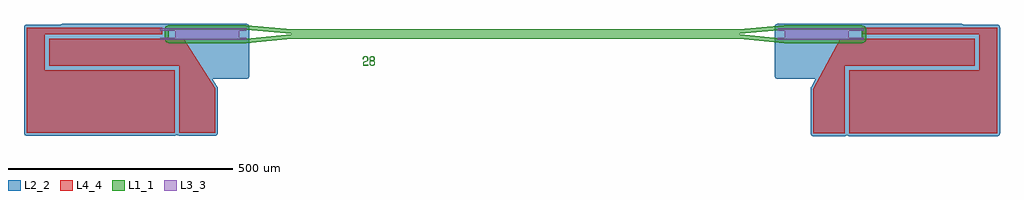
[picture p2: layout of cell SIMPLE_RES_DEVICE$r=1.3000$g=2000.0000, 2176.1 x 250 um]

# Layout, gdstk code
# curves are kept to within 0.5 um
import gdstk
lib = gdstk.Library(unit=1e-6, precision=1e-10)
def P(c, l, *ps):  # polygons
    for p in ps: c.add(gdstk.Polygon(p, *l))
L1_1 = (1, 1)
L2_2 = (2, 2)
L3_3 = (3, 3)
L4_4 = (4, 4)

simple_res_device_r_1_30 = lib.new_cell('SIMPLE_RES_DEVICE$r=1.3000$g=2000.0000')
P(simple_res_device_r_1_30, L1_1, [(-2330.848,-15.25),(-2333.7508,-14.8194),(-2337.1919,-12.9801),(-2339.6672,-9.964),(-2340.6559,-7.2009),(-2340.6559,16.7009),(-2337.9191,21.8211),(-2332.7989,24.5579),(-2158.048,24.75),(-2057.579,15.35),(-1558.4,15.35),(-1558.4,5.35),(-2058.048,5.35),(-2158.048,14.75),(-2330.848,14.75),(-2330.848,-5.25),(-2158.048,-5.25),(-2058.048,4.15),(-1558.4,4.15),(-1558.4,-5.85),(-2057.579,-5.85),(-2158.048,-15.25)],
  [(-958.752,-15.25),(-1059.221,-5.85),(-1558.4,-5.85),(-1558.4,4.15),(-1058.752,4.15),(-958.752,-5.25),(-785.952,-5.25),(-785.952,14.75),(-958.752,14.75),(-1058.752,5.35),(-1558.4,5.35),(-1558.4,15.35),(-1059.221,15.35),(-958.752,24.75),(-785.952,24.75),(-782.1252,23.9888),(-779.6081,22.4801),(-776.3826,17.6528),(-775.952,-5.25),(-776.7132,-9.0768),(-778.8809,-12.3211),(-782.1252,-14.4888),(-785.952,-15.25)],
  [(-1878.303,-65.518),(-1881.157,-65.028),(-1882.271,-64.428),(-1882.975,-63.692),(-1883.425,-62.744),(-1883.441,-56.654),(-1883.007,-55.732),(-1882.177,-54.986),(-1880.879,-54.424),(-1882.137,-53.996),(-1882.879,-53.236),(-1883.385,-51.086),(-1883.385,-48.03),(-1883.101,-47.036),(-1882.525,-46.168),(-1881.679,-45.536),(-1880.659,-45.136),(-1878.303,-44.818),(-1878.303,-46.21),(-1879.987,-46.502),(-1880.943,-46.986),(-1881.599,-47.788),(-1881.837,-48.898),(-1881.837,-51.752),(-1881.211,-52.788),(-1880.327,-53.45),(-1879.307,-53.768),(-1876.635,-53.808),(-1875.607,-53.598),(-1874.651,-53.054),(-1873.963,-52.146),(-1873.773,-48.568),(-1874.169,-47.502),(-1874.999,-46.772),(-1877.291,-46.21),(-1877.291,-44.818),(-1876.603,-44.852),(-1874.493,-45.28),(-1873.449,-45.836),(-1872.707,-46.654),(-1872.287,-47.628),(-1872.177,-51.5),(-1872.389,-52.496),(-1872.857,-53.432),(-1873.623,-54.102),(-1874.715,-54.424),(-1873.417,-54.986),(-1872.595,-55.732),(-1872.161,-56.654),(-1872.027,-62.24),(-1872.351,-63.22),(-1873.007,-64.144),(-1873.947,-64.81),(-1875.031,-65.21),(-1877.291,-65.518),(-1877.291,-64.152),(-1875.931,-63.96),(-1874.865,-63.524),(-1874.057,-62.852),(-1873.591,-61.868),(-1873.591,-57.174),(-1874.169,-56.172),(-1875.085,-55.492),(-1876.223,-55.188),(-1879.101,-55.166),(-1880.311,-55.414),(-1881.181,-55.916),(-1881.797,-56.734),(-1882.019,-57.744),(-1882.019,-62.17),(-1881.331,-63.086),(-1880.359,-63.72),(-1878.303,-64.152)],
  [(-1898.154,-65.22),(-1898.154,-59.036),(-1897.846,-57.866),(-1897.008,-57.006),(-1895.862,-56.394),(-1890.242,-54.772),(-1889.198,-54.242),(-1888.408,-53.49),(-1888.526,-47.892),(-1889.166,-47.01),(-1891.316,-46.282),(-1894.93,-46.486),(-1895.886,-46.91),(-1896.636,-47.77),(-1896.866,-48.87),(-1896.866,-50.986),(-1898.4,-50.986),(-1898.328,-47.906),(-1897.894,-46.732),(-1897.112,-45.88),(-1894.874,-44.98),(-1891.096,-44.84),(-1888.748,-45.446),(-1887.87,-46.032),(-1887.166,-46.948),(-1886.788,-48.106),(-1886.788,-52.914),(-1886.97,-53.994),(-1887.594,-54.912),(-1888.478,-55.554),(-1890.566,-56.402),(-1894.274,-57.386),(-1895.396,-57.89),(-1896.274,-58.61),(-1896.534,-59.386),(-1896.534,-63.87),(-1886.708,-63.87),(-1886.708,-65.22)])
P(simple_res_device_r_1_30, L2_2, [(-893.952,-222.5),(-897.7584,-221.1381),(-899.9231,-217.0881),(-899.952,-116.5),(-899.2302,-113.6469),(-888.8806,-94.5),(-973.952,-94.5),(-976.7804,-93.7915),(-978.9408,-91.8334),(-979.952,-88.5),(-979.952,21.5),(-979.2435,24.3284),(-976.7804,26.7915),(-973.952,27.5),(-563.952,27.5),(-561.6559,27.0433),(-559.4894,25.5),(-483.3639,25.4711),(-480.6186,24.4888),(-478.6605,22.3284),(-477.952,19.5),(-477.952,-216.5),(-478.6605,-219.3284),(-481.1236,-221.7915),(-483.952,-222.5),(-813.952,-222.5),(-816.7804,-221.7915),(-818.952,-219.8148),(-821.1236,-221.7915),(-823.952,-222.5)],
  [(-2648.048,-221.5),(-2652.2906,-219.7426),(-2654.048,-215.5),(-2654.048,19.5),(-2653.3395,22.3284),(-2650.8764,24.7915),(-2648.048,25.5),(-2572.5106,25.5),(-2570.3441,27.0433),(-2568.048,27.5),(-2158.048,27.5),(-2155.2196,26.7915),(-2152.7565,24.3284),(-2152.048,21.5),(-2152.048,-88.5),(-2153.0592,-91.8334),(-2155.2196,-93.7915),(-2158.048,-94.5),(-2234.2998,-94.5),(-2222.986,-112.2787),(-2222.0747,-114.9341),(-2222.048,-215.5),(-2222.7565,-218.3284),(-2225.2196,-220.7915),(-2228.048,-221.5),(-2308.048,-221.5),(-2310.8764,-220.7915),(-2313.048,-218.8148),(-2315.2196,-220.7915),(-2318.048,-221.5)])
P(simple_res_device_r_1_30, L3_3, [(-973.952,-8),(-973.952,-3),(-958.197,-3),(-958.197,11.75),(-957.752,11.75),(-957.752,-3),(-957.752,-3),(-956.397,-3),(-956.397,11.75),(-955.952,11.75),(-955.952,-3),(-954.597,-3),(-954.597,11.75),(-954.152,11.75),(-954.152,-3),(-952.797,-3),(-952.797,11.75),(-952.352,11.75),(-952.352,-3),(-950.997,-3),(-950.997,11.75),(-950.552,11.75),(-950.552,-3),(-949.197,-3),(-949.197,11.75),(-948.752,11.75),(-948.752,-3),(-947.397,-3),(-947.397,11.75),(-946.952,11.75),(-946.952,-3),(-945.597,-3),(-945.597,11.75),(-945.152,11.75),(-945.152,-3),(-943.797,-3),(-943.797,11.75),(-943.352,11.75),(-943.352,-3),(-941.997,-3),(-941.997,11.75),(-941.552,11.75),(-941.552,-3),(-940.197,-3),(-940.197,11.75),(-939.752,11.75),(-939.752,-3),(-938.397,-3),(-938.397,11.75),(-937.952,11.75),(-937.952,-3),(-936.597,-3),(-936.597,11.75),(-936.152,11.75),(-936.152,-3),(-934.797,-3),(-934.797,11.75),(-934.352,11.75),(-934.352,-3),(-932.997,-3),(-932.997,11.75),(-932.552,11.75),(-932.552,-3),(-931.197,-3),(-931.197,11.75),(-930.752,11.75),(-930.752,-3),(-929.397,-3),(-929.397,11.75),(-928.952,11.75),(-928.952,-3),(-927.597,-3),(-927.597,11.75),(-927.152,11.75),(-927.152,-3),(-925.797,-3),(-925.797,11.75),(-925.352,11.75),(-925.352,-3),(-923.997,-3),(-923.997,11.75),(-923.552,11.75),(-923.552,-3),(-922.197,-3),(-922.197,11.75),(-921.752,11.75),(-921.752,-3),(-920.397,-3),(-920.397,11.75),(-919.952,11.75),(-919.952,-3),(-918.597,-3),(-918.597,11.75),(-918.152,11.75),(-918.152,-3),(-916.797,-3),(-916.797,11.75),(-916.352,11.75),(-916.352,-3),(-914.997,-3),(-914.997,11.75),(-914.552,11.75),(-914.552,-3),(-913.197,-3),(-913.197,11.75),(-912.752,11.75),(-912.752,-3),(-911.397,-3),(-911.397,11.75),(-910.952,11.75),(-910.952,-3),(-909.597,-3),(-909.597,11.75),(-909.152,11.75),(-909.152,-3),(-907.797,-3),(-907.797,11.75),(-907.352,11.75),(-907.352,-3),(-905.997,-3),(-905.997,11.75),(-905.552,11.75),(-905.552,-3),(-904.197,-3),(-904.197,11.75),(-903.752,11.75),(-903.752,-3),(-902.397,-3),(-902.397,11.75),(-901.952,11.75),(-901.952,-3),(-900.597,-3),(-900.597,11.75),(-900.152,11.75),(-900.152,-3),(-898.797,-3),(-898.797,11.75),(-898.352,11.75),(-898.352,-3),(-896.997,-3),(-896.997,11.75),(-896.552,11.75),(-896.552,-3),(-895.197,-3),(-895.197,11.75),(-894.752,11.75),(-894.752,-3),(-893.397,-3),(-893.397,11.75),(-892.952,11.75),(-892.952,-3),(-891.597,-3),(-891.597,11.75),(-891.152,11.75),(-891.152,-3),(-889.797,-3),(-889.797,11.75),(-889.352,11.75),(-889.352,-3),(-887.997,-3),(-887.997,11.75),(-887.552,11.75),(-887.552,-3),(-886.197,-3),(-886.197,11.75),(-885.752,11.75),(-885.752,-3),(-884.397,-3),(-884.397,11.75),(-883.952,11.75),(-883.952,-3),(-882.597,-3),(-882.597,11.75),(-882.152,11.75),(-882.152,-3),(-880.797,-3),(-880.797,11.75),(-880.352,11.75),(-880.352,-3),(-878.997,-3),(-878.997,11.75),(-878.552,11.75),(-878.552,-3),(-877.197,-3),(-877.197,11.75),(-876.752,11.75),(-876.752,-3),(-875.397,-3),(-875.397,11.75),(-874.952,11.75),(-874.952,-3),(-873.597,-3),(-873.597,11.75),(-873.152,11.75),(-873.152,-3),(-871.797,-3),(-871.797,11.75),(-871.352,11.75),(-871.352,-3),(-869.997,-3),(-869.997,11.75),(-869.552,11.75),(-869.552,-3),(-868.197,-3),(-868.197,11.75),(-867.752,11.75),(-867.752,-3),(-866.397,-3),(-866.397,11.75),(-865.952,11.75),(-865.952,-3),(-864.597,-3),(-864.597,11.75),(-864.152,11.75),(-864.152,-3),(-862.797,-3),(-862.797,11.75),(-862.352,11.75),(-862.352,-3),(-860.997,-3),(-860.997,11.75),(-860.552,11.75),(-860.552,-3),(-859.197,-3),(-859.197,11.75),(-858.752,11.75),(-858.752,-3),(-857.397,-3),(-857.397,11.75),(-856.952,11.75),(-856.952,-3),(-855.597,-3),(-855.597,11.75),(-855.152,11.75),(-855.152,-3),(-853.797,-3),(-853.797,11.75),(-853.352,11.75),(-853.352,-3),(-851.997,-3),(-851.997,11.75),(-851.552,11.75),(-851.552,-3),(-850.197,-3),(-850.197,11.75),(-849.752,11.75),(-849.752,-3),(-848.397,-3),(-848.397,11.75),(-847.952,11.75),(-847.952,-3),(-846.597,-3),(-846.597,11.75),(-846.152,11.75),(-846.152,-3),(-844.797,-3),(-844.797,11.75),(-844.352,11.75),(-844.352,-3),(-842.997,-3),(-842.997,11.75),(-842.552,11.75),(-842.552,-3),(-841.197,-3),(-841.197,11.75),(-840.752,11.75),(-840.752,-3),(-839.397,-3),(-839.397,11.75),(-838.952,11.75),(-838.952,-3),(-837.597,-3),(-837.597,11.75),(-837.152,11.75),(-837.152,-3),(-835.797,-3),(-835.797,11.75),(-835.352,11.75),(-835.352,-3),(-833.997,-3),(-833.997,11.75),(-833.552,11.75),(-833.552,-3),(-832.197,-3),(-832.197,11.75),(-831.752,11.75),(-831.752,-3),(-830.397,-3),(-830.397,11.75),(-829.952,11.75),(-829.952,-3),(-828.597,-3),(-828.597,11.75),(-828.152,11.75),(-828.152,-3),(-826.797,-3),(-826.797,11.75),(-826.352,11.75),(-826.352,-3),(-824.997,-3),(-824.997,11.75),(-824.552,11.75),(-824.552,-3),(-823.197,-3),(-823.197,11.75),(-822.752,11.75),(-822.752,-3),(-821.397,-3),(-821.397,11.75),(-820.952,11.75),(-820.952,-3),(-819.597,-3),(-819.597,11.75),(-819.152,11.75),(-819.152,-3),(-817.797,-3),(-817.797,11.75),(-817.352,11.75),(-817.352,-3),(-815.997,-3),(-815.997,11.75),(-815.552,11.75),(-815.552,-3),(-781.952,-3),(-781.952,-8)],
  [(-957.297,-2.25),(-957.297,12.5),(-973.952,12.5),(-973.952,17.5),(-781.952,17.5),(-781.952,12.5),(-814.652,12.5),(-814.652,-2.25),(-815.097,-2.25),(-815.097,12.5),(-816.452,12.5),(-816.452,-2.25),(-816.897,-2.25),(-816.897,12.5),(-818.252,12.5),(-818.252,-2.25),(-818.697,-2.25),(-818.697,12.5),(-820.052,12.5),(-820.052,-2.25),(-820.497,-2.25),(-820.497,12.5),(-821.852,12.5),(-821.852,-2.25),(-822.297,-2.25),(-822.297,12.5),(-823.652,12.5),(-823.652,-2.25),(-824.097,-2.25),(-824.097,12.5),(-825.452,12.5),(-825.452,-2.25),(-825.897,-2.25),(-825.897,12.5),(-827.252,12.5),(-827.252,-2.25),(-827.697,-2.25),(-827.697,12.5),(-829.052,12.5),(-829.052,-2.25),(-829.497,-2.25),(-829.497,12.5),(-830.852,12.5),(-830.852,-2.25),(-831.297,-2.25),(-831.297,12.5),(-832.652,12.5),(-832.652,-2.25),(-833.097,-2.25),(-833.097,12.5),(-834.452,12.5),(-834.452,-2.25),(-834.897,-2.25),(-834.897,12.5),(-836.252,12.5),(-836.252,-2.25),(-836.697,-2.25),(-836.697,12.5),(-838.052,12.5),(-838.052,-2.25),(-838.497,-2.25),(-838.497,12.5),(-839.852,12.5),(-839.852,-2.25),(-840.297,-2.25),(-840.297,12.5),(-841.652,12.5),(-841.652,-2.25),(-842.097,-2.25),(-842.097,12.5),(-843.452,12.5),(-843.452,-2.25),(-843.897,-2.25),(-843.897,12.5),(-845.252,12.5),(-845.252,-2.25),(-845.697,-2.25),(-845.697,12.5),(-847.052,12.5),(-847.052,-2.25),(-847.497,-2.25),(-847.497,12.5),(-848.852,12.5),(-848.852,-2.25),(-849.297,-2.25),(-849.297,12.5),(-850.652,12.5),(-850.652,-2.25),(-851.097,-2.25),(-851.097,12.5),(-852.452,12.5),(-852.452,-2.25),(-852.897,-2.25),(-852.897,12.5),(-854.252,12.5),(-854.252,-2.25),(-854.697,-2.25),(-854.697,12.5),(-856.052,12.5),(-856.052,-2.25),(-856.497,-2.25),(-856.497,12.5),(-857.852,12.5),(-857.852,-2.25),(-858.297,-2.25),(-858.297,12.5),(-859.652,12.5),(-859.652,-2.25),(-860.097,-2.25),(-860.097,12.5),(-861.452,12.5),(-861.452,-2.25),(-861.897,-2.25),(-861.897,12.5),(-863.252,12.5),(-863.252,-2.25),(-863.697,-2.25),(-863.697,12.5),(-865.052,12.5),(-865.052,-2.25),(-865.497,-2.25),(-865.497,12.5),(-866.852,12.5),(-866.852,-2.25),(-867.297,-2.25),(-867.297,12.5),(-868.652,12.5),(-868.652,-2.25),(-869.097,-2.25),(-869.097,12.5),(-870.452,12.5),(-870.452,-2.25),(-870.897,-2.25),(-870.897,12.5),(-872.252,12.5),(-872.252,-2.25),(-872.697,-2.25),(-872.697,12.5),(-874.052,12.5),(-874.052,-2.25),(-874.497,-2.25),(-874.497,12.5),(-875.852,12.5),(-875.852,-2.25),(-876.297,-2.25),(-876.297,12.5),(-877.652,12.5),(-877.652,-2.25),(-878.097,-2.25),(-878.097,12.5),(-879.452,12.5),(-879.452,-2.25),(-879.897,-2.25),(-879.897,12.5),(-881.252,12.5),(-881.252,-2.25),(-881.697,-2.25),(-881.697,12.5),(-883.052,12.5),(-883.052,-2.25),(-883.497,-2.25),(-883.497,12.5),(-884.852,12.5),(-884.852,-2.25),(-885.297,-2.25),(-885.297,12.5),(-886.652,12.5),(-886.652,-2.25),(-887.097,-2.25),(-887.097,12.5),(-888.452,12.5),(-888.452,-2.25),(-888.897,-2.25),(-888.897,12.5),(-890.252,12.5),(-890.252,-2.25),(-890.697,-2.25),(-890.697,12.5),(-892.052,12.5),(-892.052,-2.25),(-892.497,-2.25),(-892.497,12.5),(-893.852,12.5),(-893.852,-2.25),(-894.297,-2.25),(-894.297,12.5),(-895.652,12.5),(-895.652,-2.25),(-896.097,-2.25),(-896.097,12.5),(-897.452,12.5),(-897.452,-2.25),(-897.897,-2.25),(-897.897,12.5),(-899.252,12.5),(-899.252,-2.25),(-899.697,-2.25),(-899.697,12.5),(-901.052,12.5),(-901.052,-2.25),(-901.497,-2.25),(-901.497,12.5),(-902.852,12.5),(-902.852,-2.25),(-903.297,-2.25),(-903.297,12.5),(-904.652,12.5),(-904.652,-2.25),(-905.097,-2.25),(-905.097,12.5),(-906.452,12.5),(-906.452,-2.25),(-906.897,-2.25),(-906.897,12.5),(-908.252,12.5),(-908.252,-2.25),(-908.697,-2.25),(-908.697,12.5),(-910.052,12.5),(-910.052,-2.25),(-910.497,-2.25),(-910.497,12.5),(-911.852,12.5),(-911.852,-2.25),(-912.297,-2.25),(-912.297,12.5),(-913.652,12.5),(-913.652,-2.25),(-914.097,-2.25),(-914.097,12.5),(-915.452,12.5),(-915.452,-2.25),(-915.897,-2.25),(-915.897,12.5),(-917.252,12.5),(-917.252,-2.25),(-917.697,-2.25),(-917.697,12.5),(-919.052,12.5),(-919.052,-2.25),(-919.497,-2.25),(-919.497,12.5),(-920.852,12.5),(-920.852,-2.25),(-921.297,-2.25),(-921.297,12.5),(-922.652,12.5),(-922.652,-2.25),(-923.097,-2.25),(-923.097,12.5),(-924.452,12.5),(-924.452,-2.25),(-924.897,-2.25),(-924.897,12.5),(-926.252,12.5),(-926.252,-2.25),(-926.697,-2.25),(-926.697,12.5),(-928.052,12.5),(-928.052,-2.25),(-928.497,-2.25),(-928.497,12.5),(-929.852,12.5),(-929.852,-2.25),(-930.297,-2.25),(-930.297,12.5),(-931.652,12.5),(-931.652,-2.25),(-932.097,-2.25),(-932.097,12.5),(-933.452,12.5),(-933.452,-2.25),(-933.897,-2.25),(-933.897,12.5),(-935.252,12.5),(-935.252,-2.25),(-935.697,-2.25),(-935.697,12.5),(-937.052,12.5),(-937.052,-2.25),(-937.497,-2.25),(-937.497,12.5),(-938.852,12.5),(-938.852,-2.25),(-939.297,-2.25),(-939.297,12.5),(-940.652,12.5),(-940.652,-2.25),(-941.097,-2.25),(-941.097,12.5),(-942.452,12.5),(-942.452,-2.25),(-942.897,-2.25),(-942.897,-2.25),(-942.897,12.5),(-944.252,12.5),(-944.252,-2.25),(-944.697,-2.25),(-944.697,12.5),(-946.052,12.5),(-946.052,-2.25),(-946.497,-2.25),(-946.497,12.5),(-947.852,12.5),(-947.852,-2.25),(-948.297,-2.25),(-948.297,12.5),(-949.652,12.5),(-949.652,-2.25),(-950.097,-2.25),(-950.097,12.5),(-951.452,12.5),(-951.452,-2.25),(-951.897,-2.25),(-951.897,12.5),(-953.252,12.5),(-953.252,-2.25),(-953.697,-2.25),(-953.697,12.5),(-955.052,12.5),(-955.052,-2.25),(-955.497,-2.25),(-955.497,12.5),(-956.852,12.5),(-956.852,-2.25)],
  [(-2350.048,-8),(-2350.048,-3),(-2316.448,-3),(-2316.448,11.75),(-2316.003,11.75),(-2316.003,-3),(-2314.648,-3),(-2314.648,11.75),(-2314.203,11.75),(-2314.203,-3),(-2312.848,-3),(-2312.848,11.75),(-2312.403,11.75),(-2312.403,-3),(-2311.048,-3),(-2311.048,11.75),(-2310.603,11.75),(-2310.603,-3),(-2309.248,-3),(-2309.248,11.75),(-2308.803,11.75),(-2308.803,-3),(-2307.448,-3),(-2307.448,11.75),(-2307.003,11.75),(-2307.003,-3),(-2305.648,-3),(-2305.648,11.75),(-2305.203,11.75),(-2305.203,-3),(-2303.848,-3),(-2303.848,11.75),(-2303.403,11.75),(-2303.403,-3),(-2302.048,-3),(-2302.048,11.75),(-2301.603,11.75),(-2301.603,-3),(-2300.248,-3),(-2300.248,11.75),(-2299.803,11.75),(-2299.803,-3),(-2298.448,-3),(-2298.448,11.75),(-2298.003,11.75),(-2298.003,-3),(-2296.648,-3),(-2296.648,11.75),(-2296.203,11.75),(-2296.203,-3),(-2294.848,-3),(-2294.848,11.75),(-2294.403,11.75),(-2294.403,11.75),(-2294.403,-3),(-2293.048,-3),(-2293.048,11.75),(-2292.603,11.75),(-2292.603,-3),(-2291.248,-3),(-2291.248,11.75),(-2290.803,11.75),(-2290.803,-3),(-2289.448,-3),(-2289.448,11.75),(-2289.003,11.75),(-2289.003,-3),(-2287.648,-3),(-2287.648,11.75),(-2287.203,11.75),(-2287.203,-3),(-2285.848,-3),(-2285.848,11.75),(-2285.403,11.75),(-2285.403,-3),(-2284.048,-3),(-2284.048,11.75),(-2283.603,11.75),(-2283.603,-3),(-2282.248,-3),(-2282.248,11.75),(-2281.803,11.75),(-2281.803,-3),(-2280.448,-3),(-2280.448,11.75),(-2280.003,11.75),(-2280.003,-3),(-2278.648,-3),(-2278.648,11.75),(-2278.203,11.75),(-2278.203,-3),(-2276.848,-3),(-2276.848,11.75),(-2276.403,11.75),(-2276.403,-3),(-2275.048,-3),(-2275.048,11.75),(-2274.603,11.75),(-2274.603,-3),(-2273.248,-3),(-2273.248,11.75),(-2272.803,11.75),(-2272.803,-3),(-2271.448,-3),(-2271.448,11.75),(-2271.003,11.75),(-2271.003,-3),(-2269.648,-3),(-2269.648,11.75),(-2269.203,11.75),(-2269.203,-3),(-2267.848,-3),(-2267.848,11.75),(-2267.403,11.75),(-2267.403,-3),(-2266.048,-3),(-2266.048,11.75),(-2265.603,11.75),(-2265.603,-3),(-2264.248,-3),(-2264.248,11.75),(-2263.803,11.75),(-2263.803,-3),(-2262.448,-3),(-2262.448,11.75),(-2262.003,11.75),(-2262.003,-3),(-2260.648,-3),(-2260.648,11.75),(-2260.203,11.75),(-2260.203,-3),(-2258.848,-3),(-2258.848,11.75),(-2258.403,11.75),(-2258.403,-3),(-2257.048,-3),(-2257.048,11.75),(-2256.603,11.75),(-2256.603,-3),(-2255.248,-3),(-2255.248,11.75),(-2254.803,11.75),(-2254.803,-3),(-2253.448,-3),(-2253.448,11.75),(-2253.003,11.75),(-2253.003,-3),(-2251.648,-3),(-2251.648,11.75),(-2251.203,11.75),(-2251.203,-3),(-2249.848,-3),(-2249.848,11.75),(-2249.403,11.75),(-2249.403,-3),(-2248.048,-3),(-2248.048,11.75),(-2247.603,11.75),(-2247.603,-3),(-2246.248,-3),(-2246.248,11.75),(-2245.803,11.75),(-2245.803,-3),(-2244.448,-3),(-2244.448,11.75),(-2244.003,11.75),(-2244.003,-3),(-2242.648,-3),(-2242.648,11.75),(-2242.203,11.75),(-2242.203,-3),(-2240.848,-3),(-2240.848,11.75),(-2240.403,11.75),(-2240.403,-3),(-2239.048,-3),(-2239.048,11.75),(-2238.603,11.75),(-2238.603,-3),(-2237.248,-3),(-2237.248,11.75),(-2236.803,11.75),(-2236.803,-3),(-2235.448,-3),(-2235.448,11.75),(-2235.003,11.75),(-2235.003,-3),(-2233.648,-3),(-2233.648,11.75),(-2233.203,11.75),(-2233.203,-3),(-2231.848,-3),(-2231.848,11.75),(-2231.403,11.75),(-2231.403,-3),(-2230.048,-3),(-2230.048,11.75),(-2229.603,11.75),(-2229.603,-3),(-2228.248,-3),(-2228.248,11.75),(-2227.803,11.75),(-2227.803,-3),(-2226.448,-3),(-2226.448,11.75),(-2226.003,11.75),(-2226.003,-3),(-2224.648,-3),(-2224.648,11.75),(-2224.203,11.75),(-2224.203,-3),(-2222.848,-3),(-2222.848,11.75),(-2222.403,11.75),(-2222.403,-3),(-2221.048,-3),(-2221.048,11.75),(-2220.603,11.75),(-2220.603,-3),(-2219.248,-3),(-2219.248,11.75),(-2218.803,11.75),(-2218.803,-3),(-2217.448,-3),(-2217.448,11.75),(-2217.003,11.75),(-2217.003,-3),(-2215.648,-3),(-2215.648,11.75),(-2215.203,11.75),(-2215.203,-3),(-2213.848,-3),(-2213.848,11.75),(-2213.403,11.75),(-2213.403,-3),(-2212.048,-3),(-2212.048,11.75),(-2211.603,11.75),(-2211.603,-3),(-2210.248,-3),(-2210.248,11.75),(-2209.803,11.75),(-2209.803,-3),(-2208.448,-3),(-2208.448,11.75),(-2208.003,11.75),(-2208.003,-3),(-2206.648,-3),(-2206.648,11.75),(-2206.203,11.75),(-2206.203,-3),(-2204.848,-3),(-2204.848,11.75),(-2204.403,11.75),(-2204.403,-3),(-2203.048,-3),(-2203.048,11.75),(-2202.603,11.75),(-2202.603,-3),(-2201.248,-3),(-2201.248,11.75),(-2200.803,11.75),(-2200.803,-3),(-2199.448,-3),(-2199.448,11.75),(-2199.003,11.75),(-2199.003,-3),(-2197.648,-3),(-2197.648,11.75),(-2197.203,11.75),(-2197.203,-3),(-2195.848,-3),(-2195.848,11.75),(-2195.403,11.75),(-2195.403,-3),(-2194.048,-3),(-2194.048,11.75),(-2193.603,11.75),(-2193.603,-3),(-2192.248,-3),(-2192.248,11.75),(-2191.803,11.75),(-2191.803,-3),(-2190.448,-3),(-2190.448,11.75),(-2190.003,11.75),(-2190.003,-3),(-2188.648,-3),(-2188.648,11.75),(-2188.203,11.75),(-2188.203,-3),(-2186.848,-3),(-2186.848,11.75),(-2186.403,11.75),(-2186.403,-3),(-2185.048,-3),(-2185.048,11.75),(-2184.603,11.75),(-2184.603,-3),(-2183.248,-3),(-2183.248,11.75),(-2182.803,11.75),(-2182.803,-3),(-2181.448,-3),(-2181.448,11.75),(-2181.003,11.75),(-2181.003,-3),(-2179.648,-3),(-2179.648,11.75),(-2179.203,11.75),(-2179.203,-3),(-2177.848,-3),(-2177.848,11.75),(-2177.403,11.75),(-2177.403,-3),(-2176.048,-3),(-2176.048,11.75),(-2175.603,11.75),(-2175.603,-3),(-2174.248,-3),(-2174.248,11.75),(-2173.803,11.75),(-2173.803,-3),(-2158.048,-3),(-2158.048,-8)],
  [(-2317.348,-2.25),(-2317.348,12.5),(-2350.048,12.5),(-2350.048,17.5),(-2158.048,17.5),(-2158.048,12.5),(-2174.703,12.5),(-2174.703,-2.25),(-2175.148,-2.25),(-2175.148,12.5),(-2176.503,12.5),(-2176.503,-2.25),(-2176.948,-2.25),(-2176.948,12.5),(-2178.303,12.5),(-2178.303,-2.25),(-2178.748,-2.25),(-2178.748,12.5),(-2180.103,12.5),(-2180.103,-2.25),(-2180.548,-2.25),(-2180.548,12.5),(-2181.903,12.5),(-2181.903,-2.25),(-2182.348,-2.25),(-2182.348,12.5),(-2183.703,12.5),(-2183.703,-2.25),(-2184.148,-2.25),(-2184.148,12.5),(-2185.503,12.5),(-2185.503,-2.25),(-2185.948,-2.25),(-2185.948,12.5),(-2187.303,12.5),(-2187.303,-2.25),(-2187.748,-2.25),(-2187.748,12.5),(-2189.103,12.5),(-2189.103,-2.25),(-2189.548,-2.25),(-2189.548,12.5),(-2190.903,12.5),(-2190.903,-2.25),(-2191.348,-2.25),(-2191.348,12.5),(-2192.703,12.5),(-2192.703,-2.25),(-2193.148,-2.25),(-2193.148,12.5),(-2194.503,12.5),(-2194.503,-2.25),(-2194.948,-2.25),(-2194.948,12.5),(-2196.303,12.5),(-2196.303,-2.25),(-2196.748,-2.25),(-2196.748,12.5),(-2198.103,12.5),(-2198.103,-2.25),(-2198.548,-2.25),(-2198.548,12.5),(-2199.903,12.5),(-2199.903,-2.25),(-2200.348,-2.25),(-2200.348,12.5),(-2201.703,12.5),(-2201.703,-2.25),(-2202.148,-2.25),(-2202.148,12.5),(-2203.503,12.5),(-2203.503,-2.25),(-2203.948,-2.25),(-2203.948,12.5),(-2205.303,12.5),(-2205.303,-2.25),(-2205.748,-2.25),(-2205.748,12.5),(-2207.103,12.5),(-2207.103,-2.25),(-2207.548,-2.25),(-2207.548,12.5),(-2208.903,12.5),(-2208.903,-2.25),(-2209.348,-2.25),(-2209.348,12.5),(-2210.703,12.5),(-2210.703,-2.25),(-2211.148,-2.25),(-2211.148,12.5),(-2212.503,12.5),(-2212.503,-2.25),(-2212.948,-2.25),(-2212.948,12.5),(-2214.303,12.5),(-2214.303,-2.25),(-2214.748,-2.25),(-2214.748,12.5),(-2216.103,12.5),(-2216.103,-2.25),(-2216.548,-2.25),(-2216.548,12.5),(-2217.903,12.5),(-2217.903,-2.25),(-2218.348,-2.25),(-2218.348,12.5),(-2219.703,12.5),(-2219.703,-2.25),(-2220.148,-2.25),(-2220.148,12.5),(-2221.503,12.5),(-2221.503,-2.25),(-2221.948,-2.25),(-2221.948,12.5),(-2223.303,12.5),(-2223.303,-2.25),(-2223.748,-2.25),(-2223.748,12.5),(-2225.103,12.5),(-2225.103,-2.25),(-2225.548,-2.25),(-2225.548,12.5),(-2226.903,12.5),(-2226.903,-2.25),(-2227.348,-2.25),(-2227.348,12.5),(-2228.703,12.5),(-2228.703,-2.25),(-2229.148,-2.25),(-2229.148,12.5),(-2230.503,12.5),(-2230.503,-2.25),(-2230.948,-2.25),(-2230.948,12.5),(-2232.303,12.5),(-2232.303,-2.25),(-2232.748,-2.25),(-2232.748,12.5),(-2234.103,12.5),(-2234.103,-2.25),(-2234.548,-2.25),(-2234.548,12.5),(-2235.903,12.5),(-2235.903,-2.25),(-2236.348,-2.25),(-2236.348,12.5),(-2237.703,12.5),(-2237.703,-2.25),(-2238.148,-2.25),(-2238.148,12.5),(-2239.503,12.5),(-2239.503,-2.25),(-2239.948,-2.25),(-2239.948,12.5),(-2241.303,12.5),(-2241.303,-2.25),(-2241.748,-2.25),(-2241.748,12.5),(-2243.103,12.5),(-2243.103,-2.25),(-2243.548,-2.25),(-2243.548,12.5),(-2244.903,12.5),(-2244.903,-2.25),(-2245.348,-2.25),(-2245.348,12.5),(-2246.703,12.5),(-2246.703,-2.25),(-2247.148,-2.25),(-2247.148,12.5),(-2248.503,12.5),(-2248.503,-2.25),(-2248.948,-2.25),(-2248.948,12.5),(-2250.303,12.5),(-2250.303,-2.25),(-2250.748,-2.25),(-2250.748,12.5),(-2252.103,12.5),(-2252.103,-2.25),(-2252.548,-2.25),(-2252.548,12.5),(-2253.903,12.5),(-2253.903,-2.25),(-2254.348,-2.25),(-2254.348,12.5),(-2255.703,12.5),(-2255.703,-2.25),(-2256.148,-2.25),(-2256.148,12.5),(-2257.503,12.5),(-2257.503,-2.25),(-2257.948,-2.25),(-2257.948,12.5),(-2259.303,12.5),(-2259.303,-2.25),(-2259.748,-2.25),(-2259.748,12.5),(-2261.103,12.5),(-2261.103,-2.25),(-2261.548,-2.25),(-2261.548,12.5),(-2262.903,12.5),(-2262.903,-2.25),(-2263.348,-2.25),(-2263.348,12.5),(-2264.703,12.5),(-2264.703,-2.25),(-2265.148,-2.25),(-2265.148,12.5),(-2266.503,12.5),(-2266.503,-2.25),(-2266.948,-2.25),(-2266.948,12.5),(-2268.303,12.5),(-2268.303,-2.25),(-2268.748,-2.25),(-2268.748,12.5),(-2270.103,12.5),(-2270.103,-2.25),(-2270.548,-2.25),(-2270.548,12.5),(-2271.903,12.5),(-2271.903,-2.25),(-2272.348,-2.25),(-2272.348,12.5),(-2273.703,12.5),(-2273.703,-2.25),(-2274.148,-2.25),(-2274.148,12.5),(-2275.503,12.5),(-2275.503,-2.25),(-2275.948,-2.25),(-2275.948,12.5),(-2277.303,12.5),(-2277.303,-2.25),(-2277.748,-2.25),(-2277.748,12.5),(-2279.103,12.5),(-2279.103,-2.25),(-2279.548,-2.25),(-2279.548,12.5),(-2280.903,12.5),(-2280.903,-2.25),(-2281.348,-2.25),(-2281.348,12.5),(-2282.703,12.5),(-2282.703,-2.25),(-2283.148,-2.25),(-2283.148,12.5),(-2284.503,12.5),(-2284.503,-2.25),(-2284.948,-2.25),(-2284.948,12.5),(-2286.303,12.5),(-2286.303,-2.25),(-2286.748,-2.25),(-2286.748,12.5),(-2288.103,12.5),(-2288.103,-2.25),(-2288.548,-2.25),(-2288.548,12.5),(-2288.548,12.5),(-2289.903,12.5),(-2289.903,-2.25),(-2290.348,-2.25),(-2290.348,12.5),(-2291.703,12.5),(-2291.703,-2.25),(-2292.148,-2.25),(-2292.148,12.5),(-2293.503,12.5),(-2293.503,-2.25),(-2293.948,-2.25),(-2293.948,12.5),(-2295.303,12.5),(-2295.303,-2.25),(-2295.748,-2.25),(-2295.748,12.5),(-2297.103,12.5),(-2297.103,-2.25),(-2297.548,-2.25),(-2297.548,12.5),(-2298.903,12.5),(-2298.903,-2.25),(-2299.348,-2.25),(-2299.348,12.5),(-2300.703,12.5),(-2300.703,-2.25),(-2301.148,-2.25),(-2301.148,12.5),(-2302.503,12.5),(-2302.503,-2.25),(-2302.948,-2.25),(-2302.948,12.5),(-2304.303,12.5),(-2304.303,-2.25),(-2304.748,-2.25),(-2304.748,12.5),(-2306.103,12.5),(-2306.103,-2.25),(-2306.548,-2.25),(-2306.548,12.5),(-2307.903,12.5),(-2307.903,-2.25),(-2308.348,-2.25),(-2308.348,12.5),(-2309.703,12.5),(-2309.703,-2.25),(-2310.148,-2.25),(-2310.148,12.5),(-2311.503,12.5),(-2311.503,-2.25),(-2311.948,-2.25),(-2311.948,12.5),(-2313.303,12.5),(-2313.303,-2.25),(-2313.748,-2.25),(-2313.748,12.5),(-2315.103,12.5),(-2315.103,-2.25),(-2315.548,-2.25),(-2315.548,12.5),(-2316.903,12.5),(-2316.903,-2.25)])
P(simple_res_device_r_1_30, L4_4, [(-893.952,-216.5),(-893.952,-116.5),(-833.952,-5.5),(-533.952,-5.5),(-533.952,-5.5),(-533.952,-65.5),(-823.952,-65.5),(-823.952,-216.5)],
  [(-813.952,-216.5),(-813.952,-75.5),(-523.952,-75.5),(-523.952,4.5),(-785.952,4.5),(-785.952,19.5),(-483.952,19.5),(-483.952,19.5),(-483.952,-216.5)],
  [(-2308.048,-215.5),(-2308.048,-65.5),(-2598.048,-65.5),(-2598.048,-5.5),(-2298.048,-5.5),(-2228.048,-115.5),(-2228.048,-115.5),(-2228.048,-215.5)],
  [(-2648.048,-215.5),(-2648.048,19.5),(-2346.048,19.5),(-2346.048,4.5),(-2346.048,4.5),(-2608.048,4.5),(-2608.048,-75.5),(-2318.048,-75.5),(-2318.048,-215.5)])

lib.write_gds('SIMPLE_RES_DEVICE_r_1.3000_g_2000.0000.gds')
